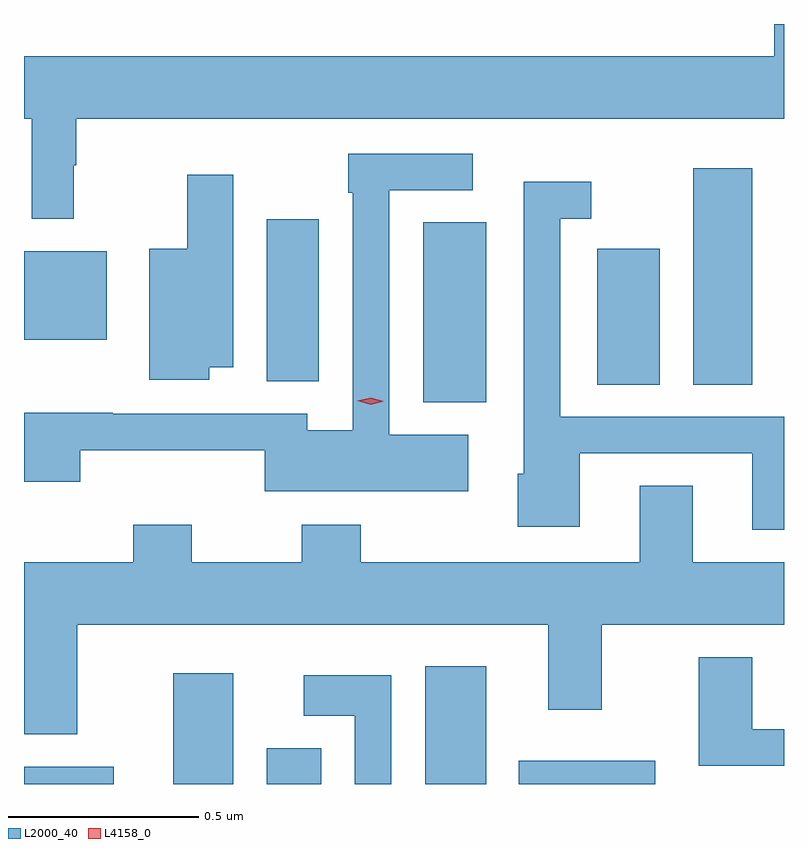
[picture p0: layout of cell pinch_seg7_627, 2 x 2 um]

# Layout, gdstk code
import gdstk
lib = gdstk.Library(unit=1e-6, precision=1e-09)
def R(c, l, rs):  # rectangles x0, y0, x1, y1
    for r in rs: c.add(gdstk.rectangle(r[:2], r[2:], *l))
def P(c, l, *ps):  # polygons
    for p in ps: c.add(gdstk.Polygon(p, *l))
L2000_40 = (2000, 40)
L4158_0 = (4158, 0)

pinch_seg7_627 = lib.new_cell('pinch_seg7_627')
R(pinch_seg7_627, L2000_40, [(227.981,1045.485,228.217,1045.531), (228.374,1045.485,228.532,1045.777), (228.62,1045.485,228.763,1045.579), (229.037,1045.485,229.198,1045.795), (229.283,1045.485,229.642,1045.546), (229.031,1046.489,229.198,1046.963), (229.49,1046.536,229.654,1046.893), (229.742,1046.536,229.897,1047.106), (228.62,1046.545,228.757,1046.971), (227.981,1046.654,228.199,1046.887)])
P(pinch_seg7_627, L2000_40, [(227.981,1047.236),(228.002,1047.236),(228.002,1046.973),(228.112,1046.973),(228.112,1047.113),(228.119,1047.113),(228.119,1047.236),(229.981,1047.236),(229.981,1047.485),(229.955,1047.485),(229.955,1047.4),(227.981,1047.4)],
  [(229.15,1046.404),(228.942,1046.404),(228.942,1047.048),(229.162,1047.048),(229.162,1047.144),(228.834,1047.144),(228.834,1047.041),(228.846,1047.041),(228.846,1046.416),(228.727,1046.416),(228.727,1046.46),(228.215,1046.46),(228.215,1046.462),(227.981,1046.462),(227.981,1046.28),(228.129,1046.28),(228.129,1046.363),(228.614,1046.363),(228.614,1046.255),(229.15,1046.255)],
  [(228.469,1046.582),(228.532,1046.582),(228.532,1047.088),(228.41,1047.088),(228.41,1046.893),(228.311,1046.893),(228.311,1046.549),(228.469,1046.549)],
  [(229.981,1046.451),(229.392,1046.451),(229.392,1046.973),(229.474,1046.973),(229.474,1047.07),(229.296,1047.07),(229.296,1046.301),(229.28,1046.301),(229.28,1046.162),(229.444,1046.162),(229.444,1046.355),(229.898,1046.355),(229.898,1046.154),(229.981,1046.154)],
  [(228.121,1045.904),(229.361,1045.904),(229.361,1045.68),(229.501,1045.68),(229.501,1045.904),(229.981,1045.904),(229.981,1046.068),(229.741,1046.068),(229.741,1046.27),(229.601,1046.27),(229.601,1046.068),(228.867,1046.068),(228.867,1046.167),(228.712,1046.167),(228.712,1046.068),(228.423,1046.068),(228.423,1046.167),(228.268,1046.167),(228.268,1046.068),(227.981,1046.068),(227.981,1045.616),(228.121,1045.616)],
  [(229.981,1045.629),(229.897,1045.629),(229.897,1045.819),(229.757,1045.819),(229.757,1045.533),(229.981,1045.533)],
  [(228.948,1045.771),(228.717,1045.771),(228.717,1045.664),(228.852,1045.664),(228.852,1045.485),(228.948,1045.485)])
P(pinch_seg7_627, L4158_0, [(228.893,1046.483),(228.858,1046.493),(228.858,1046.493),(228.858,1046.493),(228.893,1046.502),(228.928,1046.492),(228.928,1046.492),(228.928,1046.492)])

lib.write_gds('pinch_seg7_627.gds')
